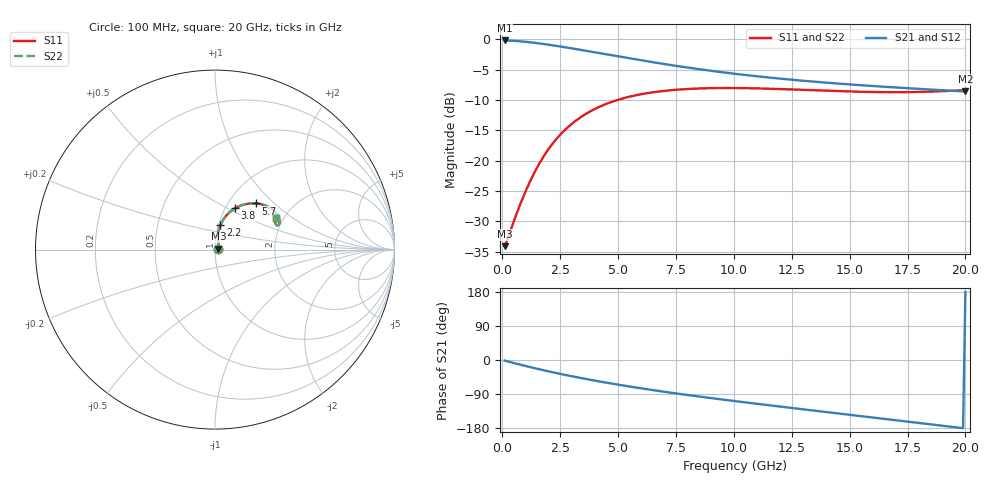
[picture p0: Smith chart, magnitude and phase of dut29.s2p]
! Touchstone file exported from HFSS 2024.1.0
!  File:  C:/UserFiles/LocalFiles/RDL_TSV_Batchsim/temp_RDL_TSV_29_1779401968.aedt
!  Generated:  06:33:34 AM May 22, 2026
!  Design:  RDL_TSV
!  Project:  temp_RDL_TSV_29_1779401968
!  Setup:  Setup1
!  Solution:  Sweep
! Variables:
!  dtsv = 10um
!  hbump = 3um
!  htsv = 59.72um
!  ldown = 189.12um
!  lrdl = 508.08um
!  p = 40
!  p1 = 52.86um
!  rhole = 10um
!  subl = 2599.68um
!  t = 450um
!  tdown = 3.7um
!  trdl = 3.5um
!  viad = 10um
!  wdown = 28.67um
!  wrdl = 12.22um
!  xbump = 18um
# GHz S MA R 50.000000
! Terminal data exported
! Port[1] = TM1_1_T1
! Port[2] = TM1_4_T1
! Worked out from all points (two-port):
!   200 points, 100 MHz to 20 GHz, reference 50 ohm
!   highest |S21| = -0.17 dB at 100 MHz (marker M1); lowest = -8.6 dB at 20 GHz (marker M2)
!   |S21| within 3 dB of the highest: start of sweep to 5.57 GHz
!   lowest |S11| = -34.1 dB at 100 MHz (marker M3), VSWR 1.04, Z = 51.9 + j0.548 ohm
!   |S11| at or under -10 dB: start of sweep to 4.964 GHz
!   |S22| runs from -34.1 to -8.0 dB; largest |S21 - S12| = 9e-15
!   S11 on the Smith chart (normalised r, x): 100 MHz: 1.04, +0.01; 2.2 GHz: 1.02, +0.29; 3.8 GHz: 1.11, +0.55; 5.7 GHz: 1.33, +0.78; 20 GHz: 1.83, +0.75
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0.1  0.01971 15.5  0.9807 -1.6  0.9807 -1.6  0.01971 15.5
! Gamma 0 0 0 0
! Port Impedance 50 0 50 0
0.2  0.02182 28.6  0.9796 -3.3  0.9796 -3.3  0.02182 28.6
0.7  0.04018 62.7  0.9677 -11.1  0.9677 -11.1  0.04018 62.7
1.2  0.06752 75.6  0.9476 -18.7  0.9476 -18.7  0.06752 75.6
1.4  0.08069 77.7  0.9379 -21.6  0.9379 -21.6  0.08069 77.7
1.7  0.1021 78.8  0.9218 -25.9  0.9218 -25.9  0.1021 78.8
2.2  0.1403 77.5  0.8928 -32.7  0.8928 -32.7  0.1403 77.5
2.8  0.1864 73.2  0.856 -40.4  0.856 -40.4  0.1864 73.2
3.5  0.236 66.9  0.8127 -48.8  0.8127 -48.8  0.2361 67.0
3.8  0.2552 64.2  0.7944 -52.2  0.7944 -52.2  0.2552 64.2
4.7  0.3043 56.2  0.7416 -62.0  0.7416 -62.0  0.3043 56.3
5.7  0.3442 48.4  0.6876 -72.0  0.6876 -72.0  0.3442 48.4
6.8  0.3728 41.1  0.6351 -82.1  0.6351 -82.1  0.3729 41.1
7.6  0.3857 36.7  0.6016 -89.0  0.6016 -89.0  0.3858 36.7
8.4  0.3934 32.9  0.5717 -95.6  0.5717 -95.6  0.3935 32.9
10.1  0.3972 26.8  0.5192 -108.9  0.5192 -108.9  0.3974 26.8
11.7  0.3913 23.2  0.4809 -120.8  0.4809 -120.8  0.3914 23.1
13.4  0.3809 21.4  0.4492 -133.1  0.4492 -133.1  0.381 21.3
15  0.3718 21.4  0.4255 -144.5  0.4255 -144.5  0.372 21.3
16.7  0.3672 22.8  0.4047 -156.7  0.4047 -156.7  0.3673 22.8
18.3  0.3702 24.9  0.388 -168.3  0.388 -168.3  0.3703 24.8
20  0.3822 27.1  0.372 179.4  0.372 179.4  0.3822 27.0
